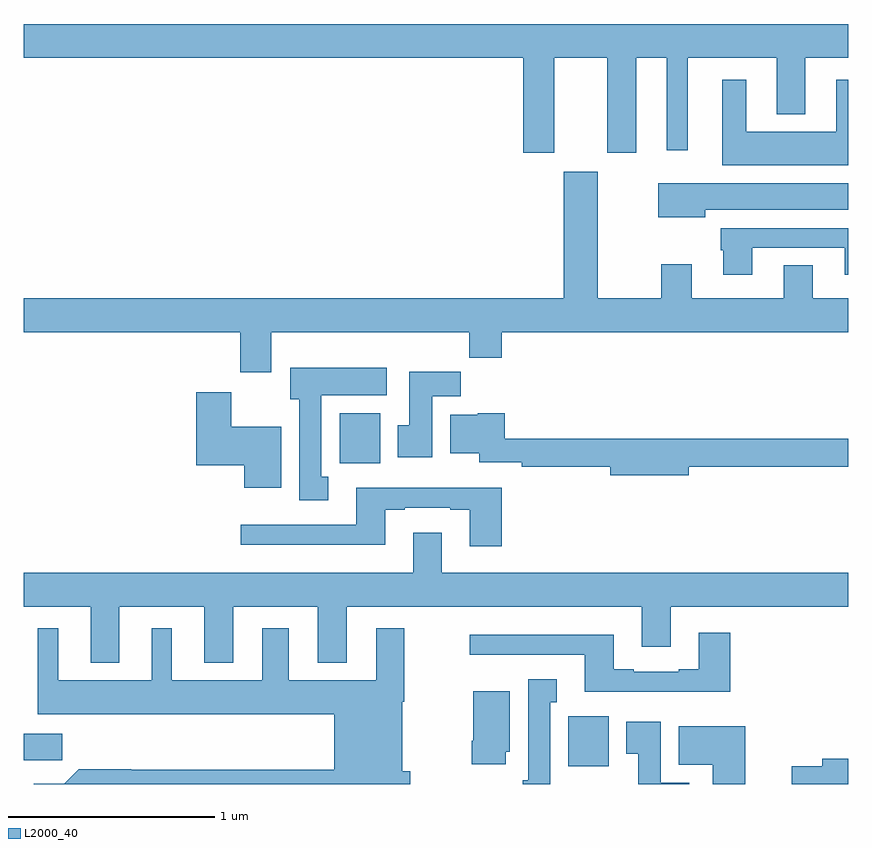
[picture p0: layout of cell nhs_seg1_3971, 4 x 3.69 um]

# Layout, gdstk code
import gdstk
lib = gdstk.Library(unit=1e-6, precision=1e-09)
def R(c, l, rs):  # rectangles x0, y0, x1, y1
    for r in rs: c.add(gdstk.rectangle(r[:2], r[2:], *l))
def P(c, l, *ps):  # polygons
    for p in ps: c.add(gdstk.Polygon(p, *l))
L2000_40 = (2000, 40)

nhs_seg1_3971 = lib.new_cell('nhs_seg1_3971')
R(nhs_seg1_3971, L2000_40, [(329.642,556.286,329.839,556.528), (327,556.315,327.187,556.444), (328.532,557.756,328.729,557.998)])
P(nhs_seg1_3971, L2000_40, [(329.575,559.724),(329.831,559.724),(329.831,559.263),(329.971,559.263),(329.971,559.724),(330.119,559.724),(330.119,559.275),(330.223,559.275),(330.223,559.724),(330.653,559.724),(330.653,559.451),(330.793,559.451),(330.793,559.724),(331,559.724),(331,559.888),(327,559.888),(327,559.724),(329.423,559.724),(329.423,559.263),(329.575,559.263)],
  [(331,559.618),(330.944,559.618),(330.944,559.366),(330.505,559.366),(330.505,559.618),(330.389,559.618),(330.389,559.202),(331,559.202)],
  [(328.201,558.392),(329.161,558.392),(329.161,558.268),(329.318,558.268),(329.318,558.392),(331,558.392),(331,558.556),(330.829,558.556),(330.829,558.716),(330.689,558.716),(330.689,558.556),(330.241,558.556),(330.241,558.721),(330.094,558.721),(330.094,558.556),(329.785,558.556),(329.785,559.171),(329.621,559.171),(329.621,558.556),(327,558.556),(327,558.392),(328.049,558.392),(328.049,558.198),(328.201,558.198)],
  [(330.307,558.986),(331,558.986),(331,559.114),(330.078,559.114),(330.078,558.95),(330.307,558.95)],
  [(330.535,558.801),(330.983,558.801),(330.983,558.672),(331,558.672),(331,558.897),(330.383,558.897),(330.383,558.789),(330.395,558.789),(330.395,558.672),(330.535,558.672)],
  [(328.477,557.69),(328.444,557.69),(328.444,558.086),(328.762,558.086),(328.762,558.22),(328.292,558.22),(328.292,558.066),(328.337,558.066),(328.337,557.577),(328.477,557.577)],
  [(328.981,558.08),(329.12,558.08),(329.12,558.199),(328.871,558.199),(328.871,557.94),(328.814,557.94),(328.814,557.784),(328.981,557.784)],
  [(328.249,557.932),(328.006,557.932),(328.006,558.1),(327.836,558.1),(327.836,557.747),(328.07,557.747),(328.07,557.636),(328.249,557.636)],
  [(330.226,557.74),(331,557.74),(331,557.876),(329.333,557.876),(329.333,557.998),(329.202,557.998),(329.202,557.992),(329.069,557.992),(329.069,557.804),(329.21,557.804),(329.21,557.76),(329.416,557.76),(329.416,557.74),(329.846,557.74),(329.846,557.698),(330.226,557.698)],
  [(329.318,557.638),(328.613,557.638),(328.613,557.457),(328.053,557.457),(328.053,557.36),(328.753,557.36),(328.753,557.529),(328.849,557.529),(328.849,557.541),(329.069,557.541),(329.069,557.529),(329.165,557.529),(329.165,557.352),(329.318,557.352)],
  [(327.463,557.06),(327.875,557.06),(327.875,556.787),(328.015,556.787),(328.015,557.06),(328.427,557.06),(328.427,556.787),(328.567,556.787),(328.567,557.06),(329.999,557.06),(329.999,556.866),(330.139,556.866),(330.139,557.06),(331,557.06),(331,557.224),(329.029,557.224),(329.029,557.419),(328.889,557.419),(328.889,557.224),(327,557.224),(327,557.06),(327.323,557.06),(327.323,556.787),(327.463,556.787)],
  [(328.874,556.26),(328.837,556.26),(328.837,556.598),(328.845,556.598),(328.845,556.954),(328.709,556.954),(328.709,556.702),(328.285,556.702),(328.285,556.954),(328.157,556.954),(328.157,556.702),(327.718,556.702),(327.718,556.954),(327.62,556.954),(327.62,556.702),(327.166,556.702),(327.166,556.954),(327.068,556.954),(327.068,556.538),(328.505,556.538),(328.505,556.268),(327.521,556.268),(327.521,556.271),(327.266,556.271),(327.196,556.201),(327.047,556.201),(327.047,556.199),(328.874,556.199)],
  [(330.428,556.933),(330.275,556.933),(330.275,556.756),(330.179,556.756),(330.179,556.743),(329.959,556.743),(329.959,556.756),(329.863,556.756),(329.863,556.924),(329.163,556.924),(329.163,556.827),(329.723,556.827),(329.723,556.646),(330.428,556.646)],
  [(329.554,556.595),(329.587,556.595),(329.587,556.708),(329.447,556.708),(329.447,556.218),(329.42,556.218),(329.42,556.199),(329.554,556.199)],
  [(329.338,556.356),(329.359,556.356),(329.359,556.648),(329.18,556.648),(329.18,556.408),(329.173,556.408),(329.173,556.296),(329.338,556.296)],
  [(330.23,556.204),(330.091,556.204),(330.091,556.501),(329.924,556.501),(329.924,556.345),(329.981,556.345),(329.981,556.199),(330.23,556.199)],
  [(330.502,556.48),(330.179,556.48),(330.179,556.292),(330.344,556.292),(330.344,556.199),(330.502,556.199)],
  [(331,556.322),(330.875,556.322),(330.875,556.286),(330.726,556.286),(330.726,556.199),(331,556.199)])

lib.write_gds('nhs_seg1_3971.gds')
